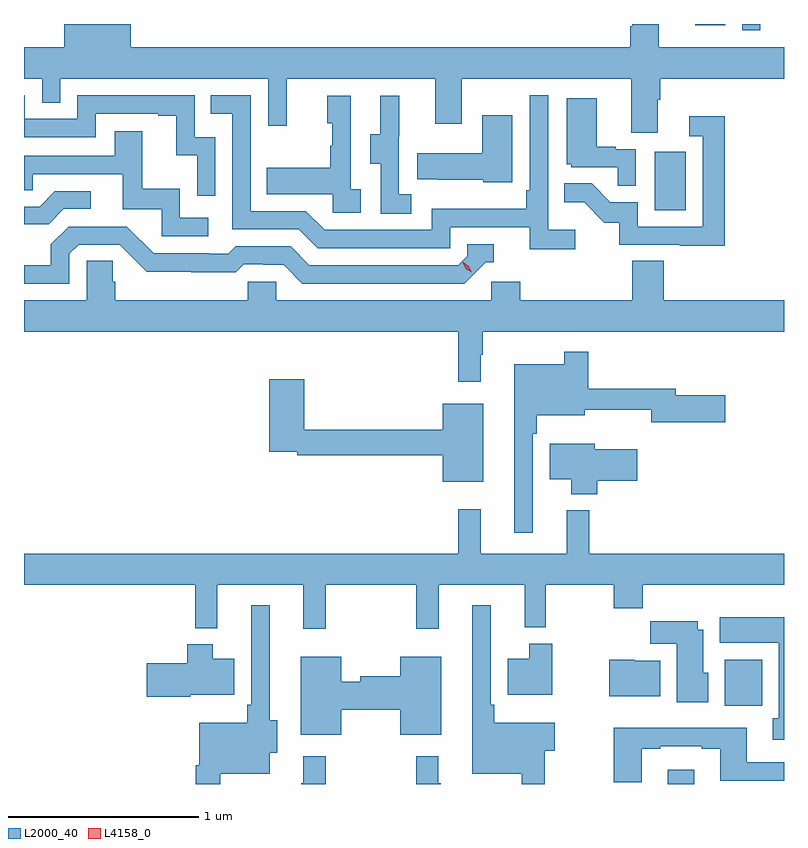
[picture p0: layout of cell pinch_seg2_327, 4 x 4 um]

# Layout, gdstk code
import gdstk
lib = gdstk.Library(unit=1e-6, precision=1e-09)
def R(c, l, rs):  # rectangles x0, y0, x1, y1
    for r in rs: c.add(gdstk.rectangle(r[:2], r[2:], *l))
def P(c, l, *ps):  # polygons
    for p in ps: c.add(gdstk.Polygon(p, *l))
L2000_40 = (2000, 40)
L4158_0 = (4158, 0)

pinch_seg2_327 = lib.new_cell('pinch_seg2_327')
R(pinch_seg2_327, L2000_40, [(996.377,629.271,996.517,629.347), (996.677,629.684,996.874,629.926), (996.308,632.292,996.472,632.599), (996.768,633.237,996.864,633.271), (996.521,633.264,996.679,633.271)])
P(pinch_seg2_327, L2000_40, [(994.275,632.736),(994.373,632.736),(994.373,632.984),(995.153,632.984),(995.153,632.745),(995.293,632.745),(995.293,632.984),(996.185,632.984),(996.185,632.698),(996.325,632.698),(996.325,632.872),(996.338,632.872),(996.338,632.984),(996.989,632.984),(996.989,633.148),(996.331,633.148),(996.331,633.271),(996.191,633.271),(996.191,633.26),(996.179,633.26),(996.179,633.148),(993.55,633.148),(993.55,633.271),(993.2,633.271),(993.2,633.148),(992.989,633.148),(992.989,632.984),(993.084,632.984),(993.084,632.857),(993.18,632.857),(993.18,632.984),(994.275,632.984)],
  [(995.89,632.188),(995.748,632.188),(995.748,632.896),(995.652,632.896),(995.652,632.395),(995.632,632.395),(995.632,632.299),(995.136,632.299),(995.136,632.187),(994.572,632.187),(994.473,632.286),(994.182,632.286),(994.182,632.895),(993.973,632.895),(993.973,632.799),(994.086,632.799),(994.086,632.19),(994.436,632.19),(994.535,632.091),(995.232,632.091),(995.232,632.202),(995.651,632.202),(995.651,632.086),(995.89,632.086)],
  [(993.996,632.676),(993.888,632.676),(993.888,632.895),(993.27,632.895),(993.27,632.772),(992.994,632.772),(992.994,632.895),(992.989,632.895),(992.989,632.676),(993.366,632.676),(993.366,632.799),(993.695,632.799),(993.695,632.787),(993.791,632.787),(993.791,632.579),(993.9,632.579),(993.9,632.367),(993.996,632.367)],
  [(995.026,632.375),(994.962,632.375),(994.962,632.679),(994.964,632.679),(994.964,632.893),(994.865,632.893),(994.865,632.691),(994.811,632.691),(994.811,632.536),(994.866,632.536),(994.866,632.272),(995.026,632.272)],
  [(994.762,632.402),(994.71,632.402),(994.71,632.893),(994.586,632.893),(994.586,632.748),(994.612,632.748),(994.612,632.63),(994.602,632.63),(994.602,632.515),(994.267,632.515),(994.267,632.375),(994.614,632.375),(994.614,632.277),(994.762,632.277)],
  [(996.21,632.613),(996.104,632.613),(996.104,632.626),(996.004,632.626),(996.004,632.881),(995.846,632.881),(995.846,632.532),(995.868,632.532),(995.868,632.517),(996.115,632.517),(996.115,632.419),(996.21,632.419)],
  [(995.56,632.791),(995.402,632.791),(995.402,632.59),(995.059,632.59),(995.059,632.453),(995.167,632.453),(995.167,632.45),(995.406,632.45),(995.406,632.438),(995.56,632.438)],
  [(996.677,632.785),(996.489,632.785),(996.489,632.679),(996.561,632.679),(996.561,632.205),(996.219,632.205),(996.219,632.334),(996.075,632.334),(995.977,632.432),(995.833,632.432),(995.833,632.333),(995.937,632.333),(996.044,632.226),(996.121,632.226),(996.121,632.109),(996.439,632.109),(996.439,632.104),(996.677,632.104)],
  [(993.958,632.25),(993.81,632.25),(993.81,632.404),(993.611,632.404),(993.611,632.707),(993.467,632.707),(993.467,632.577),(992.989,632.577),(992.989,632.397),(993.035,632.397),(993.035,632.481),(993.509,632.481),(993.509,632.295),(993.714,632.295),(993.714,632.154),(993.958,632.154)],
  [(993.198,632.298),(993.34,632.298),(993.34,632.391),(993.152,632.391),(993.071,632.31),(992.989,632.31),(992.989,632.218),(993.118,632.218)],
  [(993.228,632.061),(993.276,632.109),(993.492,632.109),(993.634,631.967),(993.87,631.967),(993.87,631.965),(994.103,631.965),(994.145,632.007),(994.248,632.007),(994.248,632.004),(994.355,632.004),(994.454,631.905),(995.307,631.905),(995.418,632.016),(995.461,632.016),(995.461,632.112),(995.322,632.112),(995.322,632.049),(995.274,632.001),(994.491,632.001),(994.392,632.1),(994.103,632.1),(994.064,632.061),(993.965,632.061),(993.965,632.064),(993.672,632.064),(993.531,632.205),(993.225,632.205),(993.131,632.111),(993.131,632.001),(992.989,632.001),(992.989,631.905),(993.228,631.905)],
  [(995.392,631.529),(995.404,631.529),(995.404,631.652),(996.989,631.652),(996.989,631.816),(996.356,631.816),(996.356,632.024),(996.191,632.024),(996.191,631.816),(995.6,631.816),(995.6,631.914),(995.448,631.914),(995.448,631.816),(994.317,631.816),(994.317,631.914),(994.167,631.914),(994.167,631.816),(993.47,631.816),(993.47,631.914),(993.455,631.914),(993.455,632.024),(993.318,632.024),(993.318,631.816),(992.989,631.816),(992.989,631.652),(995.275,631.652),(995.275,631.389),(995.392,631.389)],
  [(995.667,631.115),(995.687,631.115),(995.687,631.211),(995.941,631.211),(995.941,631.241),(996.29,631.241),(996.29,631.175),(996.679,631.175),(996.679,631.317),(996.418,631.317),(996.418,631.351),(995.96,631.351),(995.96,631.546),(995.832,631.546),(995.832,631.48),(995.57,631.48),(995.57,630.594),(995.667,630.594)],
  [(995.407,631.273),(995.192,631.273),(995.192,631.136),(994.463,631.136),(994.463,631.402),(994.28,631.402),(994.28,631.02),(994.426,631.02),(994.426,631),(995.192,631),(995.192,630.863),(995.407,630.863)],
  [(996.005,630.868),(996.217,630.868),(996.217,631.033),(995.992,631.033),(995.992,631.063),(995.756,631.063),(995.756,630.875),(995.87,630.875),(995.87,630.797),(996.005,630.797)],
  [(994.577,630.32),(995.053,630.32),(995.053,630.087),(995.171,630.087),(995.171,630.32),(995.624,630.32),(995.624,630.095),(995.734,630.095),(995.734,630.32),(996.094,630.32),(996.094,630.196),(996.245,630.196),(996.245,630.32),(996.989,630.32),(996.989,630.484),(995.963,630.484),(995.963,630.712),(995.846,630.712),(995.846,630.484),(995.393,630.484),(995.393,630.718),(995.275,630.718),(995.275,630.484),(992.989,630.484),(992.989,630.32),(993.889,630.32),(993.889,630.092),(994.007,630.092),(994.007,630.32),(994.46,630.32),(994.46,630.087),(994.577,630.087)],
  [(995.731,629.446),(995.782,629.446),(995.782,629.593),(995.465,629.593),(995.465,629.689),(995.445,629.689),(995.445,630.211),(995.348,630.211),(995.348,629.324),(995.61,629.324),(995.61,629.271),(995.731,629.271)],
  [(994.021,629.324),(994.282,629.324),(994.282,629.435),(994.321,629.435),(994.321,629.606),(994.282,629.606),(994.282,630.211),(994.185,630.211),(994.185,629.689),(994.165,629.689),(994.165,629.593),(993.912,629.593),(993.912,629.371),(993.892,629.371),(993.892,629.271),(994.021,629.271)],
  [(996.989,630.148),(996.65,630.148),(996.65,630.014),(996.962,630.014),(996.962,629.618),(996.929,629.618),(996.929,629.505),(996.989,629.505)],
  [(996.589,629.856),(996.565,629.856),(996.565,630.082),(996.535,630.082),(996.535,630.127),(996.286,630.127),(996.286,630.008),(996.425,630.008),(996.425,629.702),(996.589,629.702)],
  [(995.77,630.01),(995.648,630.01),(995.648,629.929),(995.534,629.929),(995.534,629.741),(995.77,629.741)],
  [(993.864,629.741),(994.096,629.741),(994.096,629.929),(993.982,629.929),(993.982,630.007),(993.848,630.007),(993.848,629.907),(993.636,629.907),(993.636,629.729),(993.864,629.729)],
  [(994.66,629.663),(994.97,629.663),(994.97,629.531),(995.185,629.531),(995.185,629.941),(994.97,629.941),(994.97,629.839),(994.76,629.839),(994.76,629.81),(994.66,629.81),(994.66,629.941),(994.445,629.941),(994.445,629.531),(994.66,629.531)],
  [(996.337,629.92),(996.204,629.92),(996.204,629.926),(996.068,629.926),(996.068,629.732),(996.337,629.732)],
  [(996.241,629.457),(996.337,629.457),(996.337,629.469),(996.557,629.469),(996.557,629.457),(996.653,629.457),(996.653,629.288),(996.989,629.288),(996.989,629.385),(996.793,629.385),(996.793,629.566),(996.094,629.566),(996.094,629.28),(996.241,629.28)],
  [(994.577,629.416),(994.46,629.416),(994.46,629.276),(994.449,629.276),(994.449,629.271),(994.577,629.271)],
  [(995.182,629.276),(995.17,629.276),(995.17,629.416),(995.053,629.416),(995.053,629.271),(995.182,629.271)])
P(pinch_seg2_327, L4158_0, [(995.346,631.964),(995.315,631.983),(995.299,632.016),(995.299,632.016),(995.3,632.016),(995.33,631.997),(995.346,631.964),(995.346,631.964)])

lib.write_gds('pinch_seg2_327.gds')
